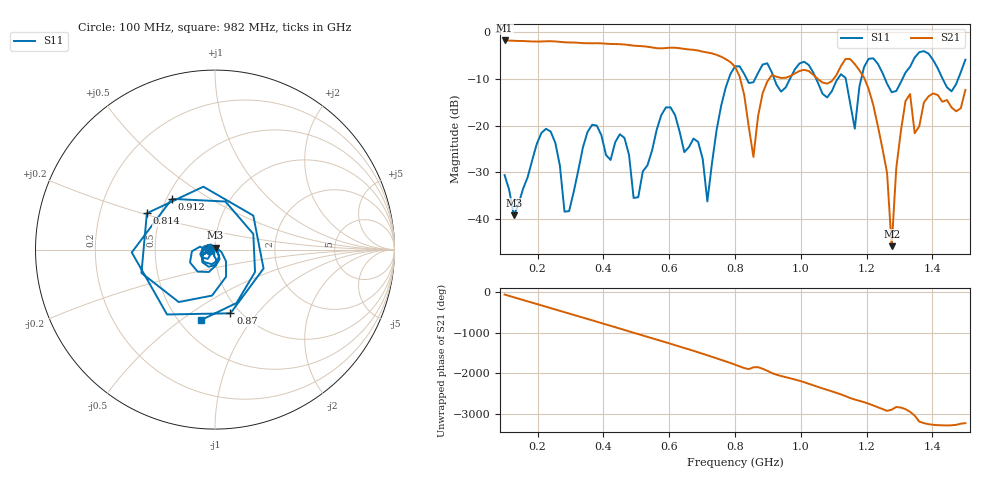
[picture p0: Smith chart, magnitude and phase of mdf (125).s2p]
! NanoVNA-App
! Date: 2025-09-26 09:40:42
! Start: 100MHz Stop: 1,5GHz Points: 101
! S-Parameter data: F S11 S21 S12 S22
# Hz S RI R 50
!  Frequency  S11_Real  S11_Imag  S21_Real  S21_Imag  S12_Real  S12_Imag  S22_Real  S22_Imag
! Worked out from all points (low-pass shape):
!   101 points, 100 MHz to 1.5 GHz, reference 50 ohm
!   highest |S21| = -1.79 dB at 100 MHz (marker M1); lowest = -45.8 dB at 1.276 GHz (marker M2)
!   |S21| within 3 dB of the highest: start of sweep to 740.5 MHz
!   lowest |S11| = -39.2 dB at 128 MHz (marker M3), VSWR 1.02, Z = 50.3 + j1.06 ohm
!   |S11| at or under -10 dB: start of sweep to 781 MHz; 1.046 GHz to 1.112 GHz (65.89 MHz wide, 6.1 % of centre); 1.256 GHz to 1.309 GHz (53.18 MHz wide, 4.15 % of centre) (the widest 3 of 7)
!   S12 and S22 are empty: the file has one direction only
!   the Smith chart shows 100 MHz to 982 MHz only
!   S11 on the Smith chart (normalised r, x): 100 MHz: 0.94, -0.01; 814 MHz: 0.42, +0.21; 870 MHz: 0.90, -0.74; 912 MHz: 0.53, +0.35; 982 MHz: 0.64, -0.60
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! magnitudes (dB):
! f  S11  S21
! 100 MHz  -30.6  -1.8
! 128 MHz  -39.2  -1.9
! 212 MHz  -21.6  -2.0
! 282 MHz  -38.5  -2.2
! 338 MHz  -24.7  -2.4
! 464 MHz  -22.6  -2.7
! 506 MHz  -35.4  -3.0
! 576 MHz  -17.8  -3.5
! 716 MHz  -36.2  -4.4
! 800 MHz  -7.3  -7.4
! 814 MHz  -7.3  -9.5
! 856 MHz  -10.7  -26.7
! 870 MHz  -8.7  -18.0
! 912 MHz  -8.6  -9.2
! 982 MHz  -8.0  -8.9
! 1.038 GHz  -8.7  -9.2
! 1.164 GHz  -20.7  -6.9
! 1.192 GHz  -7.5  -9.7
! 1.262 GHz  -11.0  -30.1
! 1.276 GHz  -12.9  -45.8
! 1.318 GHz  -8.7  -14.8
! 1.5 GHz  -5.9  -12.4
